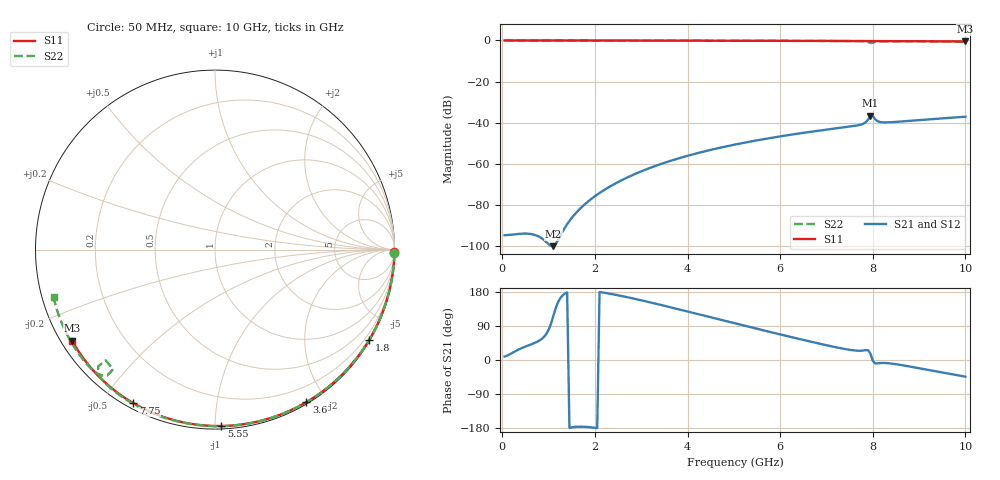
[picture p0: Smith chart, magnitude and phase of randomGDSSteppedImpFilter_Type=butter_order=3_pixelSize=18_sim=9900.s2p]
! freq	dB(S11)	phase(S11)	dB(S12)	phase(S12)
!  dB(S21)	phase(S21)	dB(S22)	phase(S22)
!S-par simulation data
#  GHz  S  DB  R 50
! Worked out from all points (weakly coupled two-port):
!   200 points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, 50 MHz to 10 GHz, reference 50 ohm
!   highest |S21| = -36.46 dB at 7.95 GHz (marker M1); lowest = -99.9 dB at 1.1 GHz (marker M2)
!   lowest |S11| = -0.5 dB at 10 GHz (marker M3), VSWR 34.77, Z = 1.56 - j14.6 ohm
!   |S11| at or under -10 dB: nowhere
!   |S22| runs from -1.2 to 0.0 dB; largest |S21 - S12| = 0
!   S11 on the Smith chart (normalised r, x): 50 MHz: open; 1.8 GHz: 0.03, -3.69; 3.6 GHz: 0.02, -1.76; 5.55 GHz: 0.02, -1.04; 7.75 GHz: 0.02, -0.60; 10 GHz: 0.03, -0.29
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0.05  -0.00 -0.9  -94.56 9.3  -94.56 9.3  -0.00 -0.9
1.1  -0.02 -18.7  -99.85 115.1  -99.85 115.1  -0.03 -20.6
1.75  -0.04 -29.5  -80.16 -176.1  -80.16 -176.1  -0.04 -32.5
1.8  -0.04 -30.3  -79.16 -176.4  -79.16 -176.4  -0.04 -33.4
2.1  -0.05 -35.2  -74.04 179.5  -74.04 179.5  -0.05 -38.8
2.5  -0.05 -41.7  -68.73 170.8  -68.73 170.8  -0.06 -45.9
2.9  -0.06 -48.1  -64.48 160.3  -64.48 160.3  -0.07 -53.0
3.4  -0.07 -56.0  -60.16 146.0  -60.16 146.0  -0.08 -61.6
3.6  -0.08 -59.1  -58.67 140.1  -58.67 140.1  -0.09 -65.0
4.3  -0.10 -69.8  -54.21 118.8  -54.21 118.8  -0.11 -76.6
5.05  -0.12 -80.8  -50.41 96.0  -50.41 96.0  -0.14 -88.7
5.55  -0.14 -88.0  -48.28 80.9  -48.28 80.9  -0.16 -96.6
6.7  -0.20 -104.0  -44.21 47.2  -44.21 47.2  -0.22 -114.2
7.75  -0.27 -118.0  -40.79 24.6  -40.79 24.6  -0.36 -131.1
7.85  -0.28 -119.4  -39.67 26.0  -39.67 26.0  -0.50 -133.6
7.95  -0.29 -120.7  -36.46 16.8  -36.46 16.8  -1.24 -134.6
8  -0.29 -121.3  -36.60 -2.2  -36.60 -2.2  -1.16 -130.4
8.05  -0.30 -122.0  -38.22 -9.0  -38.22 -9.0  -0.69 -130.6
8.15  -0.30 -123.3  -39.56 -8.2  -39.56 -8.2  -0.44 -133.3
8.35  -0.32 -125.9  -39.74 -8.6  -39.74 -8.6  -0.38 -137.3
9.15  -0.40 -136.4  -38.41 -25.3  -38.41 -25.3  -0.44 -150.0
10  -0.50 -147.5  -37.02 -43.9  -37.02 -43.9  -0.56 -163.5
